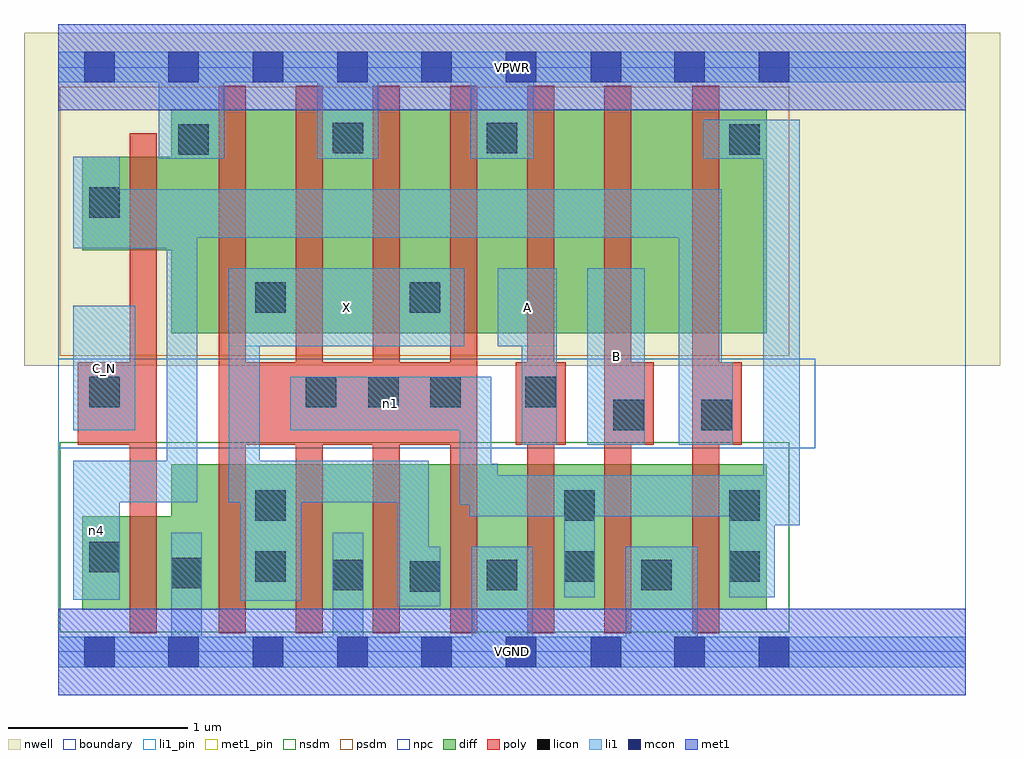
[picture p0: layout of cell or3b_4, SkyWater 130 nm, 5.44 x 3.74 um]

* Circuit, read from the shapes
.subckt or3b_4 A B C_N VGND VPWR X n1 n4
XM1 VGND C_N n4 VSUBS sky130_fd_pr__nfet_01v8 w=0.52 l=0.15
XM2 X n1 VGND VSUBS sky130_fd_pr__nfet_01v8 w=0.81 l=0.15 m=4
XM3 n1 A VGND VSUBS sky130_fd_pr__nfet_01v8 w=0.81 l=0.15
XM4 VGND B n1 VSUBS sky130_fd_pr__nfet_01v8 w=0.81 l=0.15
XM5 n1 n4 VGND VSUBS sky130_fd_pr__nfet_01v8 w=0.81 l=0.15
XM6 VPWR C_N n4 n2 sky130_fd_pr__pfet_01v8 w=0.52 l=0.15
XM7 X n1 VPWR n2 sky130_fd_pr__pfet_01v8 w=1.25 l=0.15 m=4
XM8 n3 A VPWR n2 sky130_fd_pr__pfet_01v8 w=1.25 l=0.15
XM9 n5 B n3 n2 sky130_fd_pr__pfet_01v8 w=1.25 l=0.15
XM10 n1 n4 n5 n2 sky130_fd_pr__pfet_01v8 w=1.25 l=0.15
.ends

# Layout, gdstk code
import gdstk
lib = gdstk.Library(unit=1e-6, precision=1e-09)
def R(c, l, rs):  # rectangles x0, y0, x1, y1
    for r in rs: c.add(gdstk.rectangle(r[:2], r[2:], *l))
def A(c, l, x, y, w, h, nx, ny, dx, dy):  # array of equal rectangles
    R(c, l, [(x+i*dx, y+j*dy, x+i*dx+w, y+j*dy+h) for i in range(nx) for j in range(ny)])
nwell = (64, 20)
diff = (65, 20)
poly = (66, 20)
licon = (66, 44)
li1_pin = (67, 16)
li1 = (67, 20)
mcon = (67, 44)
met1_pin = (68, 16)
met1 = (68, 20)
nsdm = (93, 44)
psdm = (94, 20)
npc = (95, 20)
boundary = (235, 4)

or3b_4 = lib.new_cell('or3b_4')
R(or3b_4, nwell, [(-0.19,1.595,5.25,3.45), (0,1.595,5.06,3.45)])
R(or3b_4, diff, [(0.135,0.235,3.95,0.755), (0.63,0.235,3.95,1.045), (0.63,1.775,3.95,3.025), (0.135,2.24,3.95,2.76)])
A(or3b_4, poly, 0.895, 0.105, 0.15, 3.05, 6, 1, 0.43, 0)
R(or3b_4, poly, [(0.4,0.105,0.55,2.89), (3.535,0.105,3.685,3.155), (0.11,1.155,0.55,1.615), (0.895,1.155,2.335,1.615), (2.55,1.155,2.83,1.615), (3.045,1.155,3.32,1.615), (3.535,1.155,3.81,1.615)])
A(or3b_4, licon, 1.53, 0.345, 0.17, 0.17, 3, 1, 0.86, 0)
R(or3b_4, licon, [(1.96,0.335,2.13,0.505), (0.63,0.355,0.8,0.525), (1.1,0.39,1.27,0.56), (2.82,0.39,2.99,0.56), (3.74,0.39,3.91,0.56), (0.175,0.445,0.345,0.615), (1.1,0.73,1.27,0.9), (2.82,0.73,2.99,0.9), (3.74,0.73,3.91,0.9), (3.095,1.235,3.265,1.405), (3.585,1.235,3.755,1.405), (0.175,1.365,0.345,1.535), (1.38,1.365,1.55,1.535), (1.73,1.365,1.9,1.535), (2.075,1.365,2.245,1.535), (2.605,1.365,2.775,1.535), (1.1,1.89,1.27,2.06), (1.96,1.89,2.13,2.06), (0.175,2.42,0.345,2.59), (0.67,2.77,0.84,2.94), (3.74,2.77,3.91,2.94), (1.53,2.78,1.7,2.95), (2.39,2.78,2.56,2.95)])
R(or3b_4, li1_pin, [(2.95,1.155,3.27,2.14), (0.085,1.235,0.43,1.93), (0.95,1.705,2.265,2.14), (2.45,1.705,2.78,2.14)])
R(or3b_4, li1, [(0,-0.085,5.06,0.085), (0.63,-0.085,0.8,0.665), (1.53,-0.085,1.7,0.665), (2.305,-0.085,2.645,0.585), (3.165,-0.085,3.565,0.585), (1.89,0.255,2.065,1.065), (1.89,0.255,2.13,0.585), (1.015,0.285,1.355,1.065), (0.085,0.29,0.345,1.065), (2.82,0.305,2.99,0.985), (3.74,0.305,3.995,0.985), (3.93,0.705,4.135,2.965), (2.295,0.755,4.135,0.985), (2.24,0.82,2.415,1.535), (2.24,0.82,2.45,1.05), (0.085,0.835,0.775,1.065), (0.605,0.835,0.775,2.58), (0.95,0.835,2.065,1.065), (0.95,0.835,1.125,2.14), (2.585,1.155,2.78,2.14), (2.95,1.155,3.27,2.14), (3.46,1.155,3.7,2.58), (3.46,1.155,3.76,1.615), (0.085,1.235,0.43,1.93), (1.295,1.235,2.415,1.535), (0.95,1.705,2.265,2.14), (2.45,1.705,2.78,2.14), (0.085,2.25,0.345,2.76), (0.085,2.25,0.775,2.58), (0.085,2.31,3.7,2.58), (0.56,2.75,0.925,3.345), (1.445,2.75,1.785,3.345), (2.3,2.75,2.65,3.345), (3.595,2.75,4.135,2.965), (0,3.175,5.06,3.345)])
A(or3b_4, mcon, 0.145, -0.085, 0.17, 0.17, 6, 2, 0.47, 3.26)
R(or3b_4, mcon, [(2.97,-0.085,3.14,0.085), (3.435,-0.085,3.605,0.085), (3.905,-0.085,4.075,0.085), (2.97,3.175,3.14,3.345), (3.435,3.175,3.605,3.345), (3.905,3.175,4.075,3.345)])
R(or3b_4, met1_pin, [(0,-0.24,5.06,0.24), (0,3.02,5.06,3.5)])
R(or3b_4, met1, [(0,-0.24,5.06,0.24), (0,3.02,5.06,3.5)])
R(or3b_4, nsdm, [(0.01,0.11,4.075,1.17)])
R(or3b_4, psdm, [(0.01,1.65,4.075,3.15)])
R(or3b_4, npc, [(0,1.135,4.22,1.635)])
R(or3b_4, boundary, [(0,0,5.06,3.26)])
or3b_4.add(gdstk.Label('A', (2.615,1.922), layer=67, texttype=5))
or3b_4.add(gdstk.Label('B', (3.11,1.647), layer=67, texttype=5))
or3b_4.add(gdstk.Label('C_N', (0.257,1.582), layer=67, texttype=5))
or3b_4.add(gdstk.Label('X', (1.607,1.922), layer=67, texttype=5))
or3b_4.add(gdstk.Label('n4', (0.215,0.677), layer=67, texttype=5))
or3b_4.add(gdstk.Label('n1', (1.855,1.385), layer=67, texttype=5))
or3b_4.add(gdstk.Label('VPWR', (2.53,3.26), layer=68, texttype=5))
or3b_4.add(gdstk.Label('VGND', (2.53,0), layer=68, texttype=5))
or3b_4.add(gdstk.Label('A', (2.615,1.922), layer=67, texttype=16))
or3b_4.add(gdstk.Label('B', (3.11,1.647), layer=67, texttype=16))
or3b_4.add(gdstk.Label('C_N', (0.257,1.582), layer=67, texttype=16))
or3b_4.add(gdstk.Label('X', (1.607,1.922), layer=67, texttype=16))
or3b_4.add(gdstk.Label('VPWR', (2.53,3.26), layer=68, texttype=16))
or3b_4.add(gdstk.Label('VGND', (2.53,0), layer=68, texttype=16))

lib.write_gds('or3b_4.gds')
